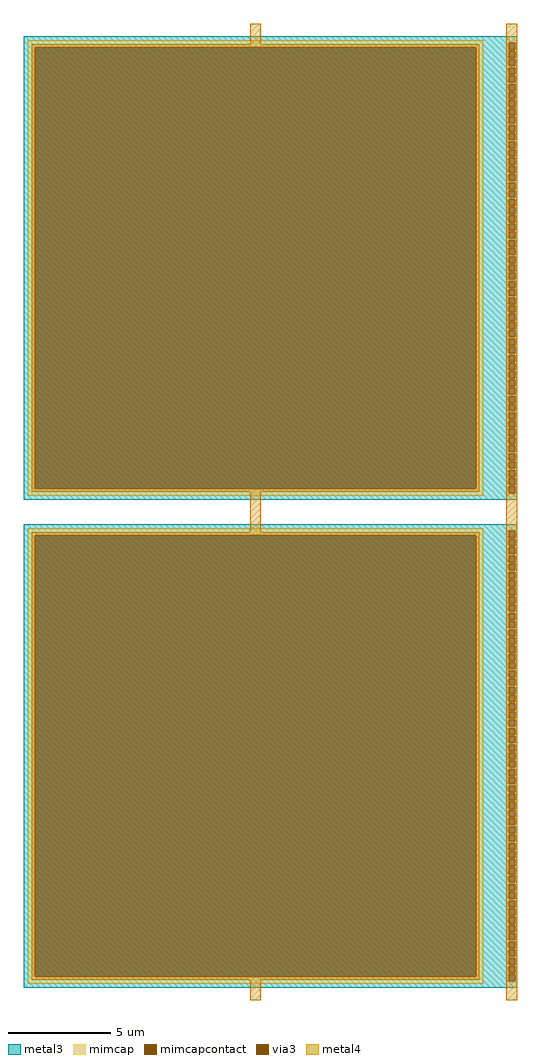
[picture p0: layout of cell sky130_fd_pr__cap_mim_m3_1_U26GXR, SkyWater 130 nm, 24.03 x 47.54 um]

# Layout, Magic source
magic
tech sky130A
magscale 1 2
<< metal3 >>
rect -2403 4569 2403 4634
rect -2403 4505 2319 4569
rect 2383 4505 2403 4569
rect -2403 4489 2403 4505
rect -2403 4425 2319 4489
rect 2383 4425 2403 4489
rect -2403 4409 2403 4425
rect -2403 4345 2319 4409
rect 2383 4345 2403 4409
rect -2403 4329 2403 4345
rect -2403 4265 2319 4329
rect 2383 4265 2403 4329
rect -2403 4249 2403 4265
rect -2403 4185 2319 4249
rect 2383 4185 2403 4249
rect -2403 4169 2403 4185
rect -2403 4105 2319 4169
rect 2383 4105 2403 4169
rect -2403 4089 2403 4105
rect -2403 4025 2319 4089
rect 2383 4025 2403 4089
rect -2403 4009 2403 4025
rect -2403 3945 2319 4009
rect 2383 3945 2403 4009
rect -2403 3929 2403 3945
rect -2403 3865 2319 3929
rect 2383 3865 2403 3929
rect -2403 3849 2403 3865
rect -2403 3785 2319 3849
rect 2383 3785 2403 3849
rect -2403 3769 2403 3785
rect -2403 3705 2319 3769
rect 2383 3705 2403 3769
rect -2403 3689 2403 3705
rect -2403 3625 2319 3689
rect 2383 3625 2403 3689
rect -2403 3609 2403 3625
rect -2403 3545 2319 3609
rect 2383 3545 2403 3609
rect -2403 3529 2403 3545
rect -2403 3465 2319 3529
rect 2383 3465 2403 3529
rect -2403 3449 2403 3465
rect -2403 3385 2319 3449
rect 2383 3385 2403 3449
rect -2403 3369 2403 3385
rect -2403 3305 2319 3369
rect 2383 3305 2403 3369
rect -2403 3289 2403 3305
rect -2403 3225 2319 3289
rect 2383 3225 2403 3289
rect -2403 3209 2403 3225
rect -2403 3145 2319 3209
rect 2383 3145 2403 3209
rect -2403 3129 2403 3145
rect -2403 3065 2319 3129
rect 2383 3065 2403 3129
rect -2403 3049 2403 3065
rect -2403 2985 2319 3049
rect 2383 2985 2403 3049
rect -2403 2969 2403 2985
rect -2403 2905 2319 2969
rect 2383 2905 2403 2969
rect -2403 2889 2403 2905
rect -2403 2825 2319 2889
rect 2383 2825 2403 2889
rect -2403 2809 2403 2825
rect -2403 2745 2319 2809
rect 2383 2745 2403 2809
rect -2403 2729 2403 2745
rect -2403 2665 2319 2729
rect 2383 2665 2403 2729
rect -2403 2649 2403 2665
rect -2403 2585 2319 2649
rect 2383 2585 2403 2649
rect -2403 2569 2403 2585
rect -2403 2505 2319 2569
rect 2383 2505 2403 2569
rect -2403 2489 2403 2505
rect -2403 2425 2319 2489
rect 2383 2425 2403 2489
rect -2403 2409 2403 2425
rect -2403 2345 2319 2409
rect 2383 2345 2403 2409
rect -2403 2329 2403 2345
rect -2403 2265 2319 2329
rect 2383 2265 2403 2329
rect -2403 2249 2403 2265
rect -2403 2185 2319 2249
rect 2383 2185 2403 2249
rect -2403 2169 2403 2185
rect -2403 2105 2319 2169
rect 2383 2105 2403 2169
rect -2403 2089 2403 2105
rect -2403 2025 2319 2089
rect 2383 2025 2403 2089
rect -2403 2009 2403 2025
rect -2403 1945 2319 2009
rect 2383 1945 2403 2009
rect -2403 1929 2403 1945
rect -2403 1865 2319 1929
rect 2383 1865 2403 1929
rect -2403 1849 2403 1865
rect -2403 1785 2319 1849
rect 2383 1785 2403 1849
rect -2403 1769 2403 1785
rect -2403 1705 2319 1769
rect 2383 1705 2403 1769
rect -2403 1689 2403 1705
rect -2403 1625 2319 1689
rect 2383 1625 2403 1689
rect -2403 1609 2403 1625
rect -2403 1545 2319 1609
rect 2383 1545 2403 1609
rect -2403 1529 2403 1545
rect -2403 1465 2319 1529
rect 2383 1465 2403 1529
rect -2403 1449 2403 1465
rect -2403 1385 2319 1449
rect 2383 1385 2403 1449
rect -2403 1369 2403 1385
rect -2403 1305 2319 1369
rect 2383 1305 2403 1369
rect -2403 1289 2403 1305
rect -2403 1225 2319 1289
rect 2383 1225 2403 1289
rect -2403 1209 2403 1225
rect -2403 1145 2319 1209
rect 2383 1145 2403 1209
rect -2403 1129 2403 1145
rect -2403 1065 2319 1129
rect 2383 1065 2403 1129
rect -2403 1049 2403 1065
rect -2403 985 2319 1049
rect 2383 985 2403 1049
rect -2403 969 2403 985
rect -2403 905 2319 969
rect 2383 905 2403 969
rect -2403 889 2403 905
rect -2403 825 2319 889
rect 2383 825 2403 889
rect -2403 809 2403 825
rect -2403 745 2319 809
rect 2383 745 2403 809
rect -2403 729 2403 745
rect -2403 665 2319 729
rect 2383 665 2403 729
rect -2403 649 2403 665
rect -2403 585 2319 649
rect 2383 585 2403 649
rect -2403 569 2403 585
rect -2403 505 2319 569
rect 2383 505 2403 569
rect -2403 489 2403 505
rect -2403 425 2319 489
rect 2383 425 2403 489
rect -2403 409 2403 425
rect -2403 345 2319 409
rect 2383 345 2403 409
rect -2403 329 2403 345
rect -2403 265 2319 329
rect 2383 265 2403 329
rect -2403 249 2403 265
rect -2403 185 2319 249
rect 2383 185 2403 249
rect -2403 120 2403 185
rect -2403 -185 2403 -120
rect -2403 -249 2319 -185
rect 2383 -249 2403 -185
rect -2403 -265 2403 -249
rect -2403 -329 2319 -265
rect 2383 -329 2403 -265
rect -2403 -345 2403 -329
rect -2403 -409 2319 -345
rect 2383 -409 2403 -345
rect -2403 -425 2403 -409
rect -2403 -489 2319 -425
rect 2383 -489 2403 -425
rect -2403 -505 2403 -489
rect -2403 -569 2319 -505
rect 2383 -569 2403 -505
rect -2403 -585 2403 -569
rect -2403 -649 2319 -585
rect 2383 -649 2403 -585
rect -2403 -665 2403 -649
rect -2403 -729 2319 -665
rect 2383 -729 2403 -665
rect -2403 -745 2403 -729
rect -2403 -809 2319 -745
rect 2383 -809 2403 -745
rect -2403 -825 2403 -809
rect -2403 -889 2319 -825
rect 2383 -889 2403 -825
rect -2403 -905 2403 -889
rect -2403 -969 2319 -905
rect 2383 -969 2403 -905
rect -2403 -985 2403 -969
rect -2403 -1049 2319 -985
rect 2383 -1049 2403 -985
rect -2403 -1065 2403 -1049
rect -2403 -1129 2319 -1065
rect 2383 -1129 2403 -1065
rect -2403 -1145 2403 -1129
rect -2403 -1209 2319 -1145
rect 2383 -1209 2403 -1145
rect -2403 -1225 2403 -1209
rect -2403 -1289 2319 -1225
rect 2383 -1289 2403 -1225
rect -2403 -1305 2403 -1289
rect -2403 -1369 2319 -1305
rect 2383 -1369 2403 -1305
rect -2403 -1385 2403 -1369
rect -2403 -1449 2319 -1385
rect 2383 -1449 2403 -1385
rect -2403 -1465 2403 -1449
rect -2403 -1529 2319 -1465
rect 2383 -1529 2403 -1465
rect -2403 -1545 2403 -1529
rect -2403 -1609 2319 -1545
rect 2383 -1609 2403 -1545
rect -2403 -1625 2403 -1609
rect -2403 -1689 2319 -1625
rect 2383 -1689 2403 -1625
rect -2403 -1705 2403 -1689
rect -2403 -1769 2319 -1705
rect 2383 -1769 2403 -1705
rect -2403 -1785 2403 -1769
rect -2403 -1849 2319 -1785
rect 2383 -1849 2403 -1785
rect -2403 -1865 2403 -1849
rect -2403 -1929 2319 -1865
rect 2383 -1929 2403 -1865
rect -2403 -1945 2403 -1929
rect -2403 -2009 2319 -1945
rect 2383 -2009 2403 -1945
rect -2403 -2025 2403 -2009
rect -2403 -2089 2319 -2025
rect 2383 -2089 2403 -2025
rect -2403 -2105 2403 -2089
rect -2403 -2169 2319 -2105
rect 2383 -2169 2403 -2105
rect -2403 -2185 2403 -2169
rect -2403 -2249 2319 -2185
rect 2383 -2249 2403 -2185
rect -2403 -2265 2403 -2249
rect -2403 -2329 2319 -2265
rect 2383 -2329 2403 -2265
rect -2403 -2345 2403 -2329
rect -2403 -2409 2319 -2345
rect 2383 -2409 2403 -2345
rect -2403 -2425 2403 -2409
rect -2403 -2489 2319 -2425
rect 2383 -2489 2403 -2425
rect -2403 -2505 2403 -2489
rect -2403 -2569 2319 -2505
rect 2383 -2569 2403 -2505
rect -2403 -2585 2403 -2569
rect -2403 -2649 2319 -2585
rect 2383 -2649 2403 -2585
rect -2403 -2665 2403 -2649
rect -2403 -2729 2319 -2665
rect 2383 -2729 2403 -2665
rect -2403 -2745 2403 -2729
rect -2403 -2809 2319 -2745
rect 2383 -2809 2403 -2745
rect -2403 -2825 2403 -2809
rect -2403 -2889 2319 -2825
rect 2383 -2889 2403 -2825
rect -2403 -2905 2403 -2889
rect -2403 -2969 2319 -2905
rect 2383 -2969 2403 -2905
rect -2403 -2985 2403 -2969
rect -2403 -3049 2319 -2985
rect 2383 -3049 2403 -2985
rect -2403 -3065 2403 -3049
rect -2403 -3129 2319 -3065
rect 2383 -3129 2403 -3065
rect -2403 -3145 2403 -3129
rect -2403 -3209 2319 -3145
rect 2383 -3209 2403 -3145
rect -2403 -3225 2403 -3209
rect -2403 -3289 2319 -3225
rect 2383 -3289 2403 -3225
rect -2403 -3305 2403 -3289
rect -2403 -3369 2319 -3305
rect 2383 -3369 2403 -3305
rect -2403 -3385 2403 -3369
rect -2403 -3449 2319 -3385
rect 2383 -3449 2403 -3385
rect -2403 -3465 2403 -3449
rect -2403 -3529 2319 -3465
rect 2383 -3529 2403 -3465
rect -2403 -3545 2403 -3529
rect -2403 -3609 2319 -3545
rect 2383 -3609 2403 -3545
rect -2403 -3625 2403 -3609
rect -2403 -3689 2319 -3625
rect 2383 -3689 2403 -3625
rect -2403 -3705 2403 -3689
rect -2403 -3769 2319 -3705
rect 2383 -3769 2403 -3705
rect -2403 -3785 2403 -3769
rect -2403 -3849 2319 -3785
rect 2383 -3849 2403 -3785
rect -2403 -3865 2403 -3849
rect -2403 -3929 2319 -3865
rect 2383 -3929 2403 -3865
rect -2403 -3945 2403 -3929
rect -2403 -4009 2319 -3945
rect 2383 -4009 2403 -3945
rect -2403 -4025 2403 -4009
rect -2403 -4089 2319 -4025
rect 2383 -4089 2403 -4025
rect -2403 -4105 2403 -4089
rect -2403 -4169 2319 -4105
rect 2383 -4169 2403 -4105
rect -2403 -4185 2403 -4169
rect -2403 -4249 2319 -4185
rect 2383 -4249 2403 -4185
rect -2403 -4265 2403 -4249
rect -2403 -4329 2319 -4265
rect 2383 -4329 2403 -4265
rect -2403 -4345 2403 -4329
rect -2403 -4409 2319 -4345
rect 2383 -4409 2403 -4345
rect -2403 -4425 2403 -4409
rect -2403 -4489 2319 -4425
rect 2383 -4489 2403 -4425
rect -2403 -4505 2403 -4489
rect -2403 -4569 2319 -4505
rect 2383 -4569 2403 -4505
rect -2403 -4634 2403 -4569
<< via3 >>
rect 2319 4505 2383 4569
rect 2319 4425 2383 4489
rect 2319 4345 2383 4409
rect 2319 4265 2383 4329
rect 2319 4185 2383 4249
rect 2319 4105 2383 4169
rect 2319 4025 2383 4089
rect 2319 3945 2383 4009
rect 2319 3865 2383 3929
rect 2319 3785 2383 3849
rect 2319 3705 2383 3769
rect 2319 3625 2383 3689
rect 2319 3545 2383 3609
rect 2319 3465 2383 3529
rect 2319 3385 2383 3449
rect 2319 3305 2383 3369
rect 2319 3225 2383 3289
rect 2319 3145 2383 3209
rect 2319 3065 2383 3129
rect 2319 2985 2383 3049
rect 2319 2905 2383 2969
rect 2319 2825 2383 2889
rect 2319 2745 2383 2809
rect 2319 2665 2383 2729
rect 2319 2585 2383 2649
rect 2319 2505 2383 2569
rect 2319 2425 2383 2489
rect 2319 2345 2383 2409
rect 2319 2265 2383 2329
rect 2319 2185 2383 2249
rect 2319 2105 2383 2169
rect 2319 2025 2383 2089
rect 2319 1945 2383 2009
rect 2319 1865 2383 1929
rect 2319 1785 2383 1849
rect 2319 1705 2383 1769
rect 2319 1625 2383 1689
rect 2319 1545 2383 1609
rect 2319 1465 2383 1529
rect 2319 1385 2383 1449
rect 2319 1305 2383 1369
rect 2319 1225 2383 1289
rect 2319 1145 2383 1209
rect 2319 1065 2383 1129
rect 2319 985 2383 1049
rect 2319 905 2383 969
rect 2319 825 2383 889
rect 2319 745 2383 809
rect 2319 665 2383 729
rect 2319 585 2383 649
rect 2319 505 2383 569
rect 2319 425 2383 489
rect 2319 345 2383 409
rect 2319 265 2383 329
rect 2319 185 2383 249
rect 2319 -249 2383 -185
rect 2319 -329 2383 -265
rect 2319 -409 2383 -345
rect 2319 -489 2383 -425
rect 2319 -569 2383 -505
rect 2319 -649 2383 -585
rect 2319 -729 2383 -665
rect 2319 -809 2383 -745
rect 2319 -889 2383 -825
rect 2319 -969 2383 -905
rect 2319 -1049 2383 -985
rect 2319 -1129 2383 -1065
rect 2319 -1209 2383 -1145
rect 2319 -1289 2383 -1225
rect 2319 -1369 2383 -1305
rect 2319 -1449 2383 -1385
rect 2319 -1529 2383 -1465
rect 2319 -1609 2383 -1545
rect 2319 -1689 2383 -1625
rect 2319 -1769 2383 -1705
rect 2319 -1849 2383 -1785
rect 2319 -1929 2383 -1865
rect 2319 -2009 2383 -1945
rect 2319 -2089 2383 -2025
rect 2319 -2169 2383 -2105
rect 2319 -2249 2383 -2185
rect 2319 -2329 2383 -2265
rect 2319 -2409 2383 -2345
rect 2319 -2489 2383 -2425
rect 2319 -2569 2383 -2505
rect 2319 -2649 2383 -2585
rect 2319 -2729 2383 -2665
rect 2319 -2809 2383 -2745
rect 2319 -2889 2383 -2825
rect 2319 -2969 2383 -2905
rect 2319 -3049 2383 -2985
rect 2319 -3129 2383 -3065
rect 2319 -3209 2383 -3145
rect 2319 -3289 2383 -3225
rect 2319 -3369 2383 -3305
rect 2319 -3449 2383 -3385
rect 2319 -3529 2383 -3465
rect 2319 -3609 2383 -3545
rect 2319 -3689 2383 -3625
rect 2319 -3769 2383 -3705
rect 2319 -3849 2383 -3785
rect 2319 -3929 2383 -3865
rect 2319 -4009 2383 -3945
rect 2319 -4089 2383 -4025
rect 2319 -4169 2383 -4105
rect 2319 -4249 2383 -4185
rect 2319 -4329 2383 -4265
rect 2319 -4409 2383 -4345
rect 2319 -4489 2383 -4425
rect 2319 -4569 2383 -4505
<< mimcap >>
rect -2363 4529 2071 4594
rect -2363 225 -2298 4529
rect 2006 225 2071 4529
rect -2363 160 2071 225
rect -2363 -225 2071 -160
rect -2363 -4529 -2298 -225
rect 2006 -4529 2071 -225
rect -2363 -4594 2071 -4529
<< mimcapcontact >>
rect -2298 225 2006 4529
rect -2298 -4529 2006 -225
<< metal4 >>
rect -198 4555 -94 4754
rect 2299 4569 2403 4754
rect -2324 4529 2032 4555
rect -2324 225 -2298 4529
rect 2006 225 2032 4529
rect -2324 199 2032 225
rect 2299 4505 2319 4569
rect 2383 4505 2403 4569
rect 2299 4489 2403 4505
rect 2299 4425 2319 4489
rect 2383 4425 2403 4489
rect 2299 4409 2403 4425
rect 2299 4345 2319 4409
rect 2383 4345 2403 4409
rect 2299 4329 2403 4345
rect 2299 4265 2319 4329
rect 2383 4265 2403 4329
rect 2299 4249 2403 4265
rect 2299 4185 2319 4249
rect 2383 4185 2403 4249
rect 2299 4169 2403 4185
rect 2299 4105 2319 4169
rect 2383 4105 2403 4169
rect 2299 4089 2403 4105
rect 2299 4025 2319 4089
rect 2383 4025 2403 4089
rect 2299 4009 2403 4025
rect 2299 3945 2319 4009
rect 2383 3945 2403 4009
rect 2299 3929 2403 3945
rect 2299 3865 2319 3929
rect 2383 3865 2403 3929
rect 2299 3849 2403 3865
rect 2299 3785 2319 3849
rect 2383 3785 2403 3849
rect 2299 3769 2403 3785
rect 2299 3705 2319 3769
rect 2383 3705 2403 3769
rect 2299 3689 2403 3705
rect 2299 3625 2319 3689
rect 2383 3625 2403 3689
rect 2299 3609 2403 3625
rect 2299 3545 2319 3609
rect 2383 3545 2403 3609
rect 2299 3529 2403 3545
rect 2299 3465 2319 3529
rect 2383 3465 2403 3529
rect 2299 3449 2403 3465
rect 2299 3385 2319 3449
rect 2383 3385 2403 3449
rect 2299 3369 2403 3385
rect 2299 3305 2319 3369
rect 2383 3305 2403 3369
rect 2299 3289 2403 3305
rect 2299 3225 2319 3289
rect 2383 3225 2403 3289
rect 2299 3209 2403 3225
rect 2299 3145 2319 3209
rect 2383 3145 2403 3209
rect 2299 3129 2403 3145
rect 2299 3065 2319 3129
rect 2383 3065 2403 3129
rect 2299 3049 2403 3065
rect 2299 2985 2319 3049
rect 2383 2985 2403 3049
rect 2299 2969 2403 2985
rect 2299 2905 2319 2969
rect 2383 2905 2403 2969
rect 2299 2889 2403 2905
rect 2299 2825 2319 2889
rect 2383 2825 2403 2889
rect 2299 2809 2403 2825
rect 2299 2745 2319 2809
rect 2383 2745 2403 2809
rect 2299 2729 2403 2745
rect 2299 2665 2319 2729
rect 2383 2665 2403 2729
rect 2299 2649 2403 2665
rect 2299 2585 2319 2649
rect 2383 2585 2403 2649
rect 2299 2569 2403 2585
rect 2299 2505 2319 2569
rect 2383 2505 2403 2569
rect 2299 2489 2403 2505
rect 2299 2425 2319 2489
rect 2383 2425 2403 2489
rect 2299 2409 2403 2425
rect 2299 2345 2319 2409
rect 2383 2345 2403 2409
rect 2299 2329 2403 2345
rect 2299 2265 2319 2329
rect 2383 2265 2403 2329
rect 2299 2249 2403 2265
rect 2299 2185 2319 2249
rect 2383 2185 2403 2249
rect 2299 2169 2403 2185
rect 2299 2105 2319 2169
rect 2383 2105 2403 2169
rect 2299 2089 2403 2105
rect 2299 2025 2319 2089
rect 2383 2025 2403 2089
rect 2299 2009 2403 2025
rect 2299 1945 2319 2009
rect 2383 1945 2403 2009
rect 2299 1929 2403 1945
rect 2299 1865 2319 1929
rect 2383 1865 2403 1929
rect 2299 1849 2403 1865
rect 2299 1785 2319 1849
rect 2383 1785 2403 1849
rect 2299 1769 2403 1785
rect 2299 1705 2319 1769
rect 2383 1705 2403 1769
rect 2299 1689 2403 1705
rect 2299 1625 2319 1689
rect 2383 1625 2403 1689
rect 2299 1609 2403 1625
rect 2299 1545 2319 1609
rect 2383 1545 2403 1609
rect 2299 1529 2403 1545
rect 2299 1465 2319 1529
rect 2383 1465 2403 1529
rect 2299 1449 2403 1465
rect 2299 1385 2319 1449
rect 2383 1385 2403 1449
rect 2299 1369 2403 1385
rect 2299 1305 2319 1369
rect 2383 1305 2403 1369
rect 2299 1289 2403 1305
rect 2299 1225 2319 1289
rect 2383 1225 2403 1289
rect 2299 1209 2403 1225
rect 2299 1145 2319 1209
rect 2383 1145 2403 1209
rect 2299 1129 2403 1145
rect 2299 1065 2319 1129
rect 2383 1065 2403 1129
rect 2299 1049 2403 1065
rect 2299 985 2319 1049
rect 2383 985 2403 1049
rect 2299 969 2403 985
rect 2299 905 2319 969
rect 2383 905 2403 969
rect 2299 889 2403 905
rect 2299 825 2319 889
rect 2383 825 2403 889
rect 2299 809 2403 825
rect 2299 745 2319 809
rect 2383 745 2403 809
rect 2299 729 2403 745
rect 2299 665 2319 729
rect 2383 665 2403 729
rect 2299 649 2403 665
rect 2299 585 2319 649
rect 2383 585 2403 649
rect 2299 569 2403 585
rect 2299 505 2319 569
rect 2383 505 2403 569
rect 2299 489 2403 505
rect 2299 425 2319 489
rect 2383 425 2403 489
rect 2299 409 2403 425
rect 2299 345 2319 409
rect 2383 345 2403 409
rect 2299 329 2403 345
rect 2299 265 2319 329
rect 2383 265 2403 329
rect 2299 249 2403 265
rect -198 -199 -94 199
rect 2299 185 2319 249
rect 2383 185 2403 249
rect 2299 -185 2403 185
rect -2324 -225 2032 -199
rect -2324 -4529 -2298 -225
rect 2006 -4529 2032 -225
rect -2324 -4555 2032 -4529
rect 2299 -249 2319 -185
rect 2383 -249 2403 -185
rect 2299 -265 2403 -249
rect 2299 -329 2319 -265
rect 2383 -329 2403 -265
rect 2299 -345 2403 -329
rect 2299 -409 2319 -345
rect 2383 -409 2403 -345
rect 2299 -425 2403 -409
rect 2299 -489 2319 -425
rect 2383 -489 2403 -425
rect 2299 -505 2403 -489
rect 2299 -569 2319 -505
rect 2383 -569 2403 -505
rect 2299 -585 2403 -569
rect 2299 -649 2319 -585
rect 2383 -649 2403 -585
rect 2299 -665 2403 -649
rect 2299 -729 2319 -665
rect 2383 -729 2403 -665
rect 2299 -745 2403 -729
rect 2299 -809 2319 -745
rect 2383 -809 2403 -745
rect 2299 -825 2403 -809
rect 2299 -889 2319 -825
rect 2383 -889 2403 -825
rect 2299 -905 2403 -889
rect 2299 -969 2319 -905
rect 2383 -969 2403 -905
rect 2299 -985 2403 -969
rect 2299 -1049 2319 -985
rect 2383 -1049 2403 -985
rect 2299 -1065 2403 -1049
rect 2299 -1129 2319 -1065
rect 2383 -1129 2403 -1065
rect 2299 -1145 2403 -1129
rect 2299 -1209 2319 -1145
rect 2383 -1209 2403 -1145
rect 2299 -1225 2403 -1209
rect 2299 -1289 2319 -1225
rect 2383 -1289 2403 -1225
rect 2299 -1305 2403 -1289
rect 2299 -1369 2319 -1305
rect 2383 -1369 2403 -1305
rect 2299 -1385 2403 -1369
rect 2299 -1449 2319 -1385
rect 2383 -1449 2403 -1385
rect 2299 -1465 2403 -1449
rect 2299 -1529 2319 -1465
rect 2383 -1529 2403 -1465
rect 2299 -1545 2403 -1529
rect 2299 -1609 2319 -1545
rect 2383 -1609 2403 -1545
rect 2299 -1625 2403 -1609
rect 2299 -1689 2319 -1625
rect 2383 -1689 2403 -1625
rect 2299 -1705 2403 -1689
rect 2299 -1769 2319 -1705
rect 2383 -1769 2403 -1705
rect 2299 -1785 2403 -1769
rect 2299 -1849 2319 -1785
rect 2383 -1849 2403 -1785
rect 2299 -1865 2403 -1849
rect 2299 -1929 2319 -1865
rect 2383 -1929 2403 -1865
rect 2299 -1945 2403 -1929
rect 2299 -2009 2319 -1945
rect 2383 -2009 2403 -1945
rect 2299 -2025 2403 -2009
rect 2299 -2089 2319 -2025
rect 2383 -2089 2403 -2025
rect 2299 -2105 2403 -2089
rect 2299 -2169 2319 -2105
rect 2383 -2169 2403 -2105
rect 2299 -2185 2403 -2169
rect 2299 -2249 2319 -2185
rect 2383 -2249 2403 -2185
rect 2299 -2265 2403 -2249
rect 2299 -2329 2319 -2265
rect 2383 -2329 2403 -2265
rect 2299 -2345 2403 -2329
rect 2299 -2409 2319 -2345
rect 2383 -2409 2403 -2345
rect 2299 -2425 2403 -2409
rect 2299 -2489 2319 -2425
rect 2383 -2489 2403 -2425
rect 2299 -2505 2403 -2489
rect 2299 -2569 2319 -2505
rect 2383 -2569 2403 -2505
rect 2299 -2585 2403 -2569
rect 2299 -2649 2319 -2585
rect 2383 -2649 2403 -2585
rect 2299 -2665 2403 -2649
rect 2299 -2729 2319 -2665
rect 2383 -2729 2403 -2665
rect 2299 -2745 2403 -2729
rect 2299 -2809 2319 -2745
rect 2383 -2809 2403 -2745
rect 2299 -2825 2403 -2809
rect 2299 -2889 2319 -2825
rect 2383 -2889 2403 -2825
rect 2299 -2905 2403 -2889
rect 2299 -2969 2319 -2905
rect 2383 -2969 2403 -2905
rect 2299 -2985 2403 -2969
rect 2299 -3049 2319 -2985
rect 2383 -3049 2403 -2985
rect 2299 -3065 2403 -3049
rect 2299 -3129 2319 -3065
rect 2383 -3129 2403 -3065
rect 2299 -3145 2403 -3129
rect 2299 -3209 2319 -3145
rect 2383 -3209 2403 -3145
rect 2299 -3225 2403 -3209
rect 2299 -3289 2319 -3225
rect 2383 -3289 2403 -3225
rect 2299 -3305 2403 -3289
rect 2299 -3369 2319 -3305
rect 2383 -3369 2403 -3305
rect 2299 -3385 2403 -3369
rect 2299 -3449 2319 -3385
rect 2383 -3449 2403 -3385
rect 2299 -3465 2403 -3449
rect 2299 -3529 2319 -3465
rect 2383 -3529 2403 -3465
rect 2299 -3545 2403 -3529
rect 2299 -3609 2319 -3545
rect 2383 -3609 2403 -3545
rect 2299 -3625 2403 -3609
rect 2299 -3689 2319 -3625
rect 2383 -3689 2403 -3625
rect 2299 -3705 2403 -3689
rect 2299 -3769 2319 -3705
rect 2383 -3769 2403 -3705
rect 2299 -3785 2403 -3769
rect 2299 -3849 2319 -3785
rect 2383 -3849 2403 -3785
rect 2299 -3865 2403 -3849
rect 2299 -3929 2319 -3865
rect 2383 -3929 2403 -3865
rect 2299 -3945 2403 -3929
rect 2299 -4009 2319 -3945
rect 2383 -4009 2403 -3945
rect 2299 -4025 2403 -4009
rect 2299 -4089 2319 -4025
rect 2383 -4089 2403 -4025
rect 2299 -4105 2403 -4089
rect 2299 -4169 2319 -4105
rect 2383 -4169 2403 -4105
rect 2299 -4185 2403 -4169
rect 2299 -4249 2319 -4185
rect 2383 -4249 2403 -4185
rect 2299 -4265 2403 -4249
rect 2299 -4329 2319 -4265
rect 2383 -4329 2403 -4265
rect 2299 -4345 2403 -4329
rect 2299 -4409 2319 -4345
rect 2383 -4409 2403 -4345
rect 2299 -4425 2403 -4409
rect 2299 -4489 2319 -4425
rect 2383 -4489 2403 -4425
rect 2299 -4505 2403 -4489
rect -198 -4754 -94 -4555
rect 2299 -4569 2319 -4505
rect 2383 -4569 2403 -4505
rect 2299 -4754 2403 -4569
<< properties >>
string FIXED_BBOX -2403 120 2111 4634
<< end >>
